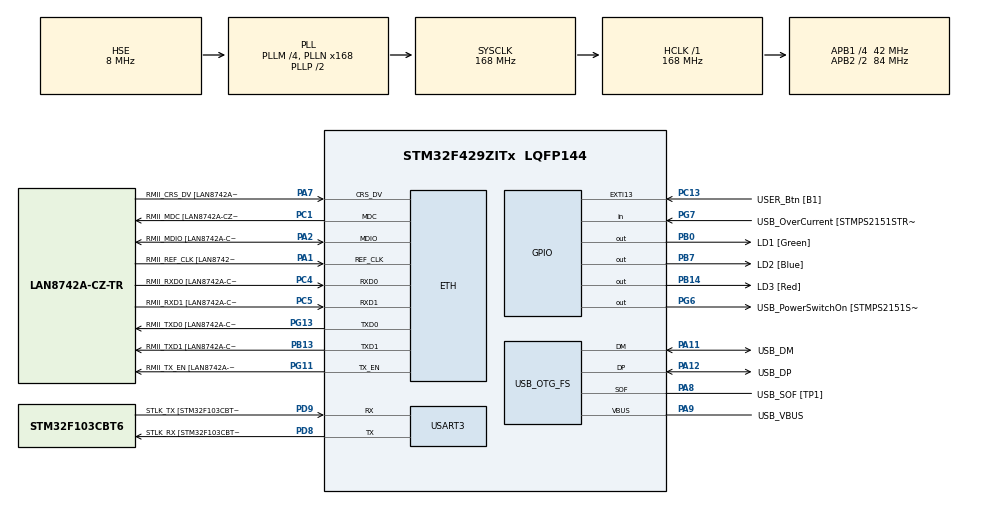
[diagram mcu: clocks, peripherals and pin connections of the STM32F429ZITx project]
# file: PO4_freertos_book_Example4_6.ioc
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ETH.MediaInterface=HAL_ETH_RMII_MODE
ETH.PHY_Name=LAN8742A_PHY_ADDRESS
ETH.PHY_Value=0
ETH.PhyAddress=0
FREERTOS.HEAP_NUMBER=4
FREERTOS.INCLUDE_vTaskDelayUntil=1
FREERTOS.MEMORY_ALLOCATION=0
FREERTOS.Tasks01=TaskLed,0,160,vTaskLed_,Default,NULL,Dynamic,NULL,NULL;TaskButton,0,160,vTaskButton_,Default,NULL,Dynamic,NULL,NULL
FREERTOS.configTOTAL_HEAP_SIZE=15360
FREERTOS.configUSE_COUNTING_SEMAPHORES=1
FREERTOS.configUSE_NEWLIB_REENTRANT=1
Mcu.Family=STM32F4
Mcu.Name=STM32F429ZITx
Mcu.Package=LQFP144
NVIC.PriorityGroup=NVIC_PRIORITYGROUP_4
NVIC.TIM7_IRQn=true\:15\:0\:false\:false\:true\:false\:false\:true\:true
NVIC.TimeBase=TIM7_IRQn
NVIC.TimeBaseIP=TIM7
PA1.GPIO_Label=RMII_REF_CLK [LAN8742A-CZ-TR_REFCLK0]
PA1.Mode=RMII
PA1.Signal=ETH_REF_CLK
PA10.GPIO_Label=USB_ID
PA10.Signal=USB_OTG_FS_ID
PA11.GPIO_Label=USB_DM
PA11.Mode=Device_Only
PA11.Signal=USB_OTG_FS_DM
PA12.GPIO_Label=USB_DP
PA12.Mode=Device_Only
PA12.Signal=USB_OTG_FS_DP
PA13.GPIO_Label=TMS
PA13.Mode=Serial_Wire
PA13.Signal=SYS_JTMS-SWDIO
PA14.GPIO_Label=TCK
PA14.Mode=Serial_Wire
PA14.Signal=SYS_JTCK-SWCLK
PA2.GPIO_Label=RMII_MDIO [LAN8742A-CZ-TR_MDIO]
PA2.Mode=RMII
PA2.Signal=ETH_MDIO
PA7.GPIO_Label=RMII_CRS_DV [LAN8742A-CZ-TR_CRS_DV]
PA7.Mode=RMII
PA7.Signal=ETH_CRS_DV
PA8.GPIO_Label=USB_SOF [TP1]
PA8.Mode=Activate_SOF_FS
PA8.Signal=USB_OTG_FS_SOF
PA9.GPIO_Label=USB_VBUS
PA9.Mode=Activate_VBUS
PA9.Signal=USB_OTG_FS_VBUS
PB0.GPIO_Label=LD1 [Green]
PB0.Signal=GPIO_Output
PB13.GPIO_Label=RMII_TXD1 [LAN8742A-CZ-TR_TXD1]
PB13.Mode=RMII
PB13.Signal=ETH_TXD1
PB14.GPIO_Label=LD3 [Red]
PB14.Signal=GPIO_Output
PB7.GPIO_Label=LD2 [Blue]
PB7.Signal=GPIO_Output
PC1.GPIO_Label=RMII_MDC [LAN8742A-CZ-TR_MDC]
PC1.Mode=RMII
PC1.Signal=ETH_MDC
PC13.GPIO_Label=USER_Btn [B1]
PC13.Signal=GPXTI13
PC14/OSC32_IN.Mode=LSE-External-Oscillator
PC14/OSC32_IN.Signal=RCC_OSC32_IN
PC15/OSC32_OUT.Mode=LSE-External-Oscillator
PC15/OSC32_OUT.Signal=RCC_OSC32_OUT
PC4.GPIO_Label=RMII_RXD0 [LAN8742A-CZ-TR_RXD0]
PC4.Mode=RMII
PC4.Signal=ETH_RXD0
PC5.GPIO_Label=RMII_RXD1 [LAN8742A-CZ-TR_RXD1]
PC5.Mode=RMII
PC5.Signal=ETH_RXD1
PD8.GPIO_Label=STLK_RX [STM32F103CBT6_PA3]
PD8.Mode=Asynchronous
PD8.Signal=USART3_TX
PD9.GPIO_Label=STLK_TX [STM32F103CBT6_PA2]
PD9.Mode=Asynchronous
PD9.Signal=USART3_RX
PG11.GPIO_Label=RMII_TX_EN [LAN8742A-CZ-TR_TXEN]
PG11.Mode=RMII
PG11.Signal=ETH_TX_EN
PG13.GPIO_Label=RMII_TXD0 [LAN8742A-CZ-TR_TXD0]
PG13.Mode=RMII
PG13.Signal=ETH_TXD0
PG6.GPIO_Label=USB_PowerSwitchOn [STMPS2151STR_EN]
PG6.Signal=GPIO_Output
PG7.GPIO_Label=USB_OverCurrent [STMPS2151STR_FAULT]
PG7.Signal=GPIO_Input
PH0/OSC_IN.GPIO_Label=MCO [STM32F103CBT6_PA8]
PH0/OSC_IN.Mode=HSE-External-Clock-Source
PH0/OSC_IN.Signal=RCC_OSC_IN
PH1/OSC_OUT.Mode=HSE-External-Clock-Source
PH1/OSC_OUT.Signal=RCC_OSC_OUT
ProjectManager.HeapSize=0x200
ProjectManager.StackSize=0x400
ProjectManager.TargetToolchain=STM32CubeIDE
RCC.48MHZClocksFreq_Value=48000000
RCC.AHBFreq_Value=168000000
RCC.APB1CLKDivider=RCC_HCLK_DIV4
RCC.APB1Freq_Value=42000000
RCC.APB1TimFreq_Value=84000000
RCC.APB2CLKDivider=RCC_HCLK_DIV2
RCC.APB2Freq_Value=84000000
RCC.APB2TimCLKDivider=2
RCC.APB2TimFreq_Value=168000000
RCC.CortexFreq_Value=168000000
RCC.HCLKFreq_Value=168000000
RCC.HSE_VALUE=8000000
RCC.HSI_VALUE=16000000
RCC.PLLM=4
RCC.PLLMUL=RCC_PLL_MUL9
RCC.PLLN=168
RCC.PLLQ=7
RCC.PRESCALERUSB=RCC_USBCLKSOURCE_PLL_DIV1_5
RCC.SYSCLKFreq_VALUE=168000000
RCC.SYSCLKSource=RCC_SYSCLKSOURCE_PLLCLK
RCC.SYSCLKSourceVirtual=RCC_SYSCLKSOURCE_PLLCLK
RCC.USBFreq_Value=48000000
RCC.VCOOutputFreq_Value=336000000
USART3.VirtualMode=VM_ASYNC
USB_OTG_FS.VirtualMode=Device_Only
VP_FREERTOS_VS_CMSIS_V1.Mode=CMSIS_V1
VP_SYS_VS_tim7.Mode=TIM7
board=NUCLEO-F429ZI

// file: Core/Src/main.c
/* USER CODE BEGIN Header */
/**
 ******************************************************************************
 * @file           : main.c
 * @brief          : Main program body
 ******************************************************************************
 * @attention
 *
 * Copyright (c) 2022 STMicroelectronics.
 * All rights reserved.
 *
 * This software is licensed under terms that can be found in the LICENSE file
 * in the root directory of this software component.
 * If no LICENSE file comes with this software, it is provided AS-IS.
 *
 ******************************************************************************
 */
/* USER CODE END Header */
#include "main.h"
#include "string.h"
#include "cmsis_os.h"

/* USER CODE BEGIN Includes */
/* Standard includes. */
#include <stdio.h>
#include <stdlib.h>

/* Demo includes. */
#include "supportingFunctions.h"

/* Application includes. */
#include "taskLed.h"
#include "taskButton.h"

/* USER CODE END Includes */

ETH_TxPacketConfig TxConfig;
ETH_DMADescTypeDef DMARxDscrTab[ETH_RX_DESC_CNT]; /* Ethernet Rx DMA Descriptors */
ETH_DMADescTypeDef DMATxDscrTab[ETH_TX_DESC_CNT]; /* Ethernet Tx DMA Descriptors */

ETH_HandleTypeDef heth;

UART_HandleTypeDef huart3;

PCD_HandleTypeDef hpcd_USB_OTG_FS;

osThreadId TaskLedHandle;
osThreadId TaskButtonHandle;
osThreadId TaskLed1Handle;
osThreadId TaskButton1Handle;
/* USER CODE BEGIN PV */
#if( TASKS_SCOPE == TASKS_OUTSIDE_MAIN)
QueueHandle_t QueueHandle;

extern LDX_Config_t LDX_Config[];
extern void vTaskLed(void const *argument);
extern void vTaskButton(void const *argument);
#endif

/* USER CODE END PV */

void SystemClock_Config(void);
static void MX_GPIO_Init(void);
static void MX_ETH_Init(void);
static void MX_USART3_UART_Init(void);
static void MX_USB_OTG_FS_PCD_Init(void);
void vTaskLed_(void const *argument);
void vTaskButton_(void const *argument);

int main(void) {
	/* USER CODE BEGIN 1 */
	const char *pcTextForMain =
			"freertos_book_Example4_6 is running: PO (4 de 6)\r\n\n";

#if( TASKS_SCOPE == TASKS_OUTSIDE_MAIN)
	LDX_Config_t *ptr;
#endif

	/* USER CODE END 1 */

	/* MCU Configuration--------------------------------------------------------*/

	/* Reset of all peripherals, Initializes the Flash interface and the Systick. */
	HAL_Init();

	/* Configure the system clock */
	SystemClock_Config();

	/* Initialize all configured peripherals */
	MX_GPIO_Init();
	MX_ETH_Init();
	MX_USART3_UART_Init();
	MX_USB_OTG_FS_PCD_Init();
	/* USER CODE BEGIN 2 */
	/* Print out the name of this Example. */
	vPrintString(pcTextForMain);

#if( TASKS_SCOPE == TASKS_OUTSIDE_MAIN)

	QueueHandle = xQueueCreate(3, sizeof(ledFlag_t));

	/* Check the queues was created successfully */
	configASSERT(QueueHandle != NULL);
	/* Create the thread(s) */
	/* definition and creation of Task Led */
	ptr = &LDX_Config[0];
	osThreadDef(TaskLed, vTaskLed, osPriorityNormal, 0, 128 + 32);
	TaskLedHandle = osThreadCreate(osThread(TaskLed), (void*) ptr);

	/* Check the task was created successfully */
	configASSERT(TaskLedHandle != NULL);

	/* definition and creation of Task Button */
	ptr = &LDX_Config[0];
	osThreadDef(TaskButton, vTaskButton, osPriorityNormal, 0, 128 + 32);
	TaskButtonHandle = osThreadCreate(osThread(TaskButton), (void*) ptr);

	/* Check the task was created successfully */
	configASSERT(TaskButtonHandle != NULL);
#endif

	/* USER CODE END 2 */

	/* USER CODE BEGIN RTOS_QUEUES */
	/* add queues, ... */
#if( TASKS_SCOPE == TASKS_INSIDE_MAIN)
  /* USER CODE END RTOS_QUEUES */

  /* Create the thread(s) */
  /* definition and creation of TaskLed */
  osThreadDef(TaskLed, vTaskLed_, osPriorityNormal, 0, 160);
  TaskLedHandle = osThreadCreate(osThread(TaskLed), NULL);

  /* definition and creation of TaskButton */
  osThreadDef(TaskButton, vTaskButton_, osPriorityNormal, 0, 160);
  TaskButtonHandle = osThreadCreate(osThread(TaskButton), NULL);

  /* USER CODE BEGIN RTOS_THREADS */
  /* add threads, ... */
#endif
	/* USER CODE END RTOS_THREADS */

	/* Start scheduler */
	osKernelStart();

	/* We should never get here as control is now taken by the scheduler */
	/* Infinite loop */
	while (1) {

	}
}

void SystemClock_Config(void) {
	RCC_OscInitTypeDef RCC_OscInitStruct = { 0 };
	RCC_ClkInitTypeDef RCC_ClkInitStruct = { 0 };

	/** Configure the main internal regulator output voltage
	 */
	__HAL_RCC_PWR_CLK_ENABLE();
	__HAL_PWR_VOLTAGESCALING_CONFIG(PWR_REGULATOR_VOLTAGE_SCALE1);

	/** Initializes the RCC Oscillators according to the specified parameters
	 * in the RCC_OscInitTypeDef structure.
	 */
	RCC_OscInitStruct.OscillatorType = RCC_OSCILLATORTYPE_HSE;
	RCC_OscInitStruct.HSEState = RCC_HSE_BYPASS;
	RCC_OscInitStruct.PLL.PLLState = RCC_PLL_ON;
	RCC_OscInitStruct.PLL.PLLSource = RCC_PLLSOURCE_HSE;
	RCC_OscInitStruct.PLL.PLLM = 4;
	RCC_OscInitStruct.PLL.PLLN = 168;
	RCC_OscInitStruct.PLL.PLLP = RCC_PLLP_DIV2;
	RCC_OscInitStruct.PLL.PLLQ = 7;
	if (HAL_RCC_OscConfig(&RCC_OscInitStruct) != HAL_OK) {
		Error_Handler();
	}

	/** Initializes the CPU, AHB and APB buses clocks
	 */
	RCC_ClkInitStruct.ClockType = RCC_CLOCKTYPE_HCLK | RCC_CLOCKTYPE_SYSCLK
			| RCC_CLOCKTYPE_PCLK1 | RCC_CLOCKTYPE_PCLK2;
	RCC_ClkInitStruct.SYSCLKSource = RCC_SYSCLKSOURCE_PLLCLK;
	RCC_ClkInitStruct.AHBCLKDivider = RCC_SYSCLK_DIV1;
	RCC_ClkInitStruct.APB1CLKDivider = RCC_HCLK_DIV4;
	RCC_ClkInitStruct.APB2CLKDivider = RCC_HCLK_DIV2;

	if (HAL_RCC_ClockConfig(&RCC_ClkInitStruct, FLASH_LATENCY_5) != HAL_OK) {
		Error_Handler();
	}
}

static void MX_ETH_Init(void) {

	static uint8_t MACAddr[6];

	heth.Instance = ETH;
	MACAddr[0] = 0x00;
	MACAddr[1] = 0x80;
	MACAddr[2] = 0xE1;
	MACAddr[3] = 0x00;
	MACAddr[4] = 0x00;
	MACAddr[5] = 0x00;
	heth.Init.MACAddr = &MACAddr[0];
	heth.Init.MediaInterface = HAL_ETH_RMII_MODE;
	heth.Init.TxDesc = DMATxDscrTab;
	heth.Init.RxDesc = DMARxDscrTab;
	heth.Init.RxBuffLen = 1524;

	if (HAL_ETH_Init(&heth) != HAL_OK) {
		Error_Handler();
	}

	memset(&TxConfig, 0, sizeof(ETH_TxPacketConfig));
	TxConfig.Attributes = ETH_TX_PACKETS_FEATURES_CSUM
			| ETH_TX_PACKETS_FEATURES_CRCPAD;
	TxConfig.ChecksumCtrl = ETH_CHECKSUM_IPHDR_PAYLOAD_INSERT_PHDR_CALC;
	TxConfig.CRCPadCtrl = ETH_CRC_PAD_INSERT;

}

static void MX_USART3_UART_Init(void) {

	huart3.Instance = USART3;
	huart3.Init.BaudRate = 115200;
	huart3.Init.WordLength = UART_WORDLENGTH_8B;
	huart3.Init.StopBits = UART_STOPBITS_1;
	huart3.Init.Parity = UART_PARITY_NONE;
	huart3.Init.Mode = UART_MODE_TX_RX;
	huart3.Init.HwFlowCtl = UART_HWCONTROL_NONE;
	huart3.Init.OverSampling = UART_OVERSAMPLING_16;
	if (HAL_UART_Init(&huart3) != HAL_OK) {
		Error_Handler();
	}

}

static void MX_USB_OTG_FS_PCD_Init(void) {

	hpcd_USB_OTG_FS.Instance = USB_OTG_FS;
	hpcd_USB_OTG_FS.Init.dev_endpoints = 4;
	hpcd_USB_OTG_FS.Init.speed = PCD_SPEED_FULL;
	hpcd_USB_OTG_FS.Init.dma_enable = DISABLE;
	hpcd_USB_OTG_FS.Init.phy_itface = PCD_PHY_EMBEDDED;
	hpcd_USB_OTG_FS.Init.Sof_enable = ENABLE;
	hpcd_USB_OTG_FS.Init.low_power_enable = DISABLE;
	hpcd_USB_OTG_FS.Init.lpm_enable = DISABLE;
	hpcd_USB_OTG_FS.Init.vbus_sensing_enable = ENABLE;
	hpcd_USB_OTG_FS.Init.use_dedicated_ep1 = DISABLE;
	if (HAL_PCD_Init(&hpcd_USB_OTG_FS) != HAL_OK) {
		Error_Handler();
	}

}

static void MX_GPIO_Init(void) {
	GPIO_InitTypeDef GPIO_InitStruct = { 0 };

	/* GPIO Ports Clock Enable */
	__HAL_RCC_GPIOC_CLK_ENABLE();
	__HAL_RCC_GPIOH_CLK_ENABLE();
	__HAL_RCC_GPIOA_CLK_ENABLE();
	__HAL_RCC_GPIOB_CLK_ENABLE();
	__HAL_RCC_GPIOD_CLK_ENABLE();
	__HAL_RCC_GPIOG_CLK_ENABLE();

	/*Configure GPIO pin Output Level */
	HAL_GPIO_WritePin(GPIOB, LD1_Pin | LD3_Pin | LD2_Pin, GPIO_PIN_RESET);

	/*Configure GPIO pin Output Level */
	HAL_GPIO_WritePin(USB_PowerSwitchOn_GPIO_Port, USB_PowerSwitchOn_Pin,
			GPIO_PIN_RESET);

	/*Configure GPIO pin : USER_Btn_Pin */
	GPIO_InitStruct.Pin = USER_Btn_Pin;
	GPIO_InitStruct.Mode = GPIO_MODE_IT_RISING;
	GPIO_InitStruct.Pull = GPIO_NOPULL;
	HAL_GPIO_Init(USER_Btn_GPIO_Port, &GPIO_InitStruct);

	/*Configure GPIO pins : LD1_Pin LD3_Pin LD2_Pin */
	GPIO_InitStruct.Pin = LD1_Pin | LD3_Pin | LD2_Pin;
	GPIO_InitStruct.Mode = GPIO_MODE_OUTPUT_PP;
	GPIO_InitStruct.Pull = GPIO_NOPULL;
	GPIO_InitStruct.Speed = GPIO_SPEED_FREQ_LOW;
	HAL_GPIO_Init(GPIOB, &GPIO_InitStruct);

	/*Configure GPIO pin : USB_PowerSwitchOn_Pin */
	GPIO_InitStruct.Pin = USB_PowerSwitchOn_Pin;
	GPIO_InitStruct.Mode = GPIO_MODE_OUTPUT_PP;
	GPIO_InitStruct.Pull = GPIO_NOPULL;
	GPIO_InitStruct.Speed = GPIO_SPEED_FREQ_LOW;
	HAL_GPIO_Init(USB_PowerSwitchOn_GPIO_Port, &GPIO_InitStruct);

	/*Configure GPIO pin : USB_OverCurrent_Pin */
	GPIO_InitStruct.Pin = USB_OverCurrent_Pin;
	GPIO_InitStruct.Mode = GPIO_MODE_INPUT;
	GPIO_InitStruct.Pull = GPIO_NOPULL;
	HAL_GPIO_Init(USB_OverCurrent_GPIO_Port, &GPIO_InitStruct);

}

void vTaskLed_(void const *argument) {
	/* USER CODE BEGIN 5 */
	char *pcTaskName;

	/* Print out the name of this task. */
	pcTaskName = (char*) pcTaskGetName( NULL);
	vPrintTwoStrings(pcTaskName, "- is running\r\n");

	/* Infinite loop */
	for (;;) {
		osDelay(1);
	}
	/* USER CODE END 5 */
}

void vTaskButton_(void const *argument) {
	/* USER CODE BEGIN vTaskButton_ */
	char *pcTaskName;

	/* Print out the name of this task. */
	pcTaskName = (char*) pcTaskGetName( NULL);
	vPrintTwoStrings(pcTaskName, "- is running\r\n");

	/* Infinite loop */
	for (;;) {
		osDelay(1);
	}
	/* USER CODE END vTaskButton_ */
}

void HAL_TIM_PeriodElapsedCallback(TIM_HandleTypeDef *htim) {
	if (htim->Instance == TIM7) {
		HAL_IncTick();
	}
}

void Error_Handler(void) {
	__disable_irq();
	while (1) {
	}
}
